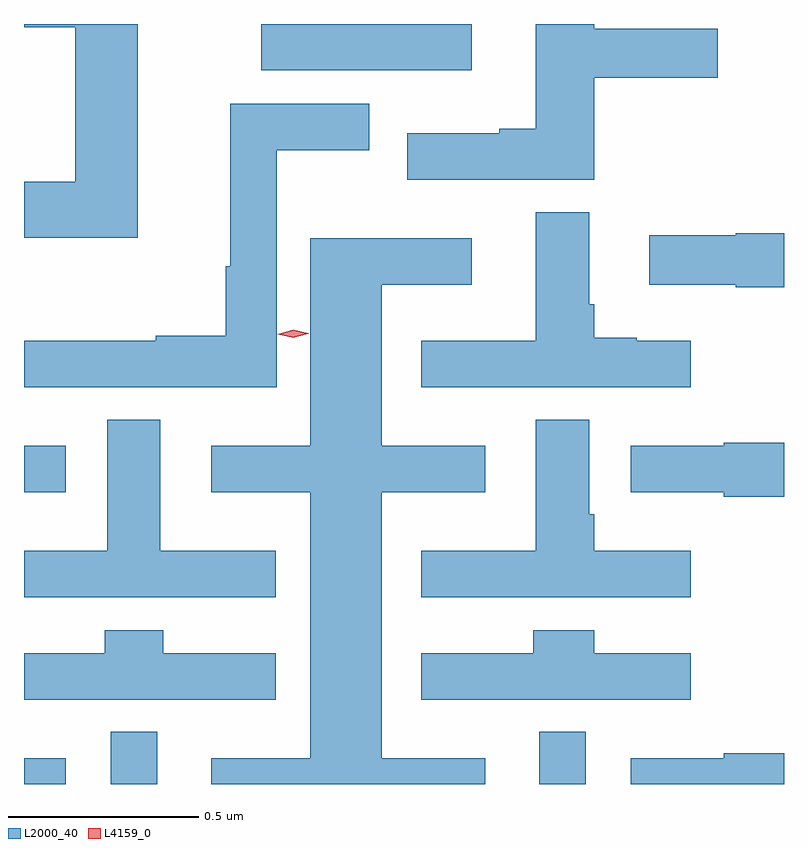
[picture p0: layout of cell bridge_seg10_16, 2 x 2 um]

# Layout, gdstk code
import gdstk
lib = gdstk.Library(unit=1e-6, precision=1e-09)
def R(c, l, rs):  # rectangles x0, y0, x1, y1
    for r in rs: c.add(gdstk.rectangle(r[:2], r[2:], *l))
def P(c, l, *ps):  # polygons
    for p in ps: c.add(gdstk.Polygon(p, *l))
L2000_40 = (2000, 40)
L4159_0 = (4159, 0)

bridge_seg10_16 = lib.new_cell('bridge_seg10_16')
R(bridge_seg10_16, L2000_40, [(1051.961,1274.612,1052.071,1274.68), (1052.189,1274.612,1052.311,1274.749), (1053.317,1274.612,1053.439,1274.749), (1051.961,1275.38,1052.071,1275.502), (1052.585,1276.49,1053.139,1276.612)])
P(bridge_seg10_16, L2000_40, [(1052.26,1276.612),(1051.961,1276.612),(1051.961,1276.603),(1052.096,1276.603),(1052.096,1276.197),(1051.961,1276.197),(1051.961,1276.049),(1052.26,1276.049)],
  [(1053.461,1276.471),(1053.787,1276.471),(1053.787,1276.6),(1053.461,1276.6),(1053.461,1276.612),(1053.308,1276.612),(1053.308,1276.337),(1053.212,1276.337),(1053.212,1276.324),(1052.97,1276.324),(1052.97,1276.202),(1053.461,1276.202)],
  [(1052.626,1276.28),(1052.869,1276.28),(1052.869,1276.402),(1052.504,1276.402),(1052.504,1275.974),(1052.492,1275.974),(1052.492,1275.791),(1052.308,1275.791),(1052.308,1275.778),(1051.961,1275.778),(1051.961,1275.656),(1052.626,1275.656)],
  [(1053.715,1275.778),(1053.573,1275.778),(1053.573,1275.786),(1053.461,1275.786),(1053.461,1275.874),(1053.448,1275.874),(1053.448,1276.117),(1053.308,1276.117),(1053.308,1275.778),(1053.006,1275.778),(1053.006,1275.656),(1053.715,1275.656)],
  [(1053.961,1276.061),(1053.834,1276.061),(1053.834,1276.056),(1053.606,1276.056),(1053.606,1275.926),(1053.834,1275.926),(1053.834,1275.919),(1053.961,1275.919)],
  [(1053.175,1274.68),(1052.902,1274.68),(1052.902,1275.38),(1053.175,1275.38),(1053.175,1275.502),(1052.902,1275.502),(1052.902,1275.926),(1053.139,1275.926),(1053.139,1276.048),(1052.714,1276.048),(1052.714,1275.502),(1052.454,1275.502),(1052.454,1275.38),(1052.714,1275.38),(1052.714,1274.68),(1052.454,1274.68),(1052.454,1274.612),(1053.175,1274.612)],
  [(1053.715,1275.226),(1053.461,1275.226),(1053.461,1275.322),(1053.448,1275.322),(1053.448,1275.571),(1053.308,1275.571),(1053.308,1275.226),(1053.006,1275.226),(1053.006,1275.104),(1053.715,1275.104)],
  [(1052.623,1275.226),(1052.32,1275.226),(1052.32,1275.571),(1052.18,1275.571),(1052.18,1275.226),(1051.961,1275.226),(1051.961,1275.104),(1052.623,1275.104)],
  [(1053.961,1275.51),(1053.802,1275.51),(1053.802,1275.502),(1053.558,1275.502),(1053.558,1275.38),(1053.802,1275.38),(1053.802,1275.368),(1053.961,1275.368)],
  [(1053.715,1274.956),(1053.461,1274.956),(1053.461,1275.016),(1053.301,1275.016),(1053.301,1274.956),(1053.006,1274.956),(1053.006,1274.834),(1053.715,1274.834)],
  [(1052.623,1274.956),(1052.328,1274.956),(1052.328,1275.016),(1052.173,1275.016),(1052.173,1274.956),(1051.961,1274.956),(1051.961,1274.834),(1052.623,1274.834)],
  [(1053.961,1274.693),(1053.802,1274.693),(1053.802,1274.68),(1053.558,1274.68),(1053.558,1274.612),(1053.961,1274.612)])
P(bridge_seg10_16, L4159_0, [(1052.669,1275.787),(1052.629,1275.796),(1052.629,1275.796),(1052.629,1275.796),(1052.669,1275.807),(1052.709,1275.798),(1052.71,1275.797),(1052.709,1275.797)])

lib.write_gds('bridge_seg10_16.gds')
